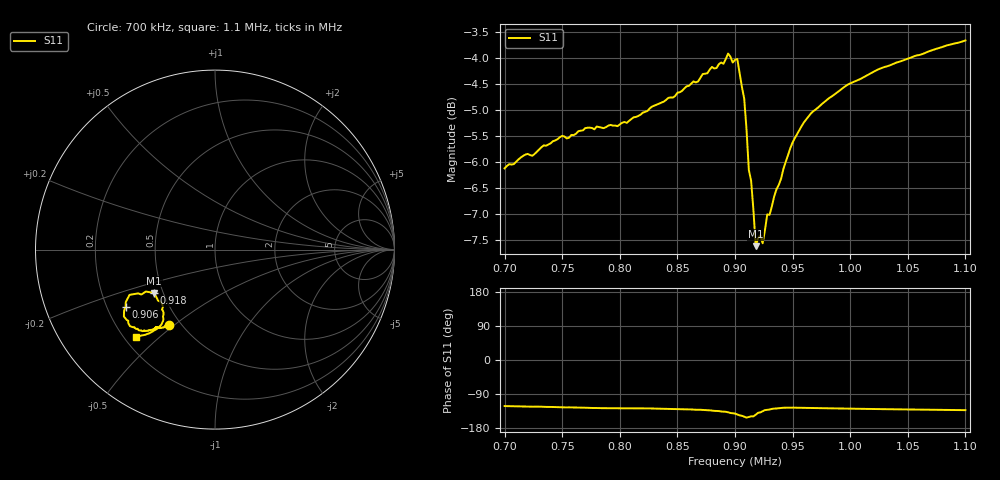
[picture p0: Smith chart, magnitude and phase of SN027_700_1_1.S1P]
!Agilent Technologies,E5071C,MY46100265,A.07.02
!Date: Mon Jan 27 12:30:02 2020
!Data & Calibration Information:
!Freq	S11:SOLT1(OFF)
# Hz S dB R 50
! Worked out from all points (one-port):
!   201 points, 700 kHz to 1.1 MHz, reference 50 ohm
!   lowest |S11| = -7.6 dB at 918 kHz (marker M1), VSWR 2.42, Z = 22.4 - j13.1 ohm
!   |S11| at or under -10 dB: nowhere
!   S11 on the Smith chart (normalised r, x): 700 kHz: 0.43, -0.48; 906 kHz: 0.28, -0.27; 918 kHz: 0.45, -0.26; 1.1 MHz: 0.25, -0.42
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700000  -6.12 -121.6
750000  -5.49 -124.8
800000  -5.28 -127.1
850000  -4.67 -129.3
868000  -4.45 -131.2
886000  -4.11 -134.8
894000  -3.91 -138.0
898000  -4.08 -140.7
900000  -4.03 -141.4
902000  -4.01 -143.7
906000  -4.55 -147.3
908000  -4.78 -149.5
910000  -5.37 -152.1
912000  -6.15 -150.3
914000  -6.36 -148.6
916000  -6.93 -148.8
918000  -7.62 -144.4
920000  -7.47 -139.4
922000  -7.41 -138.3
924000  -7.56 -135.3
926000  -7.31 -132.2
928000  -7.01 -131.5
940000  -6.32 -126.5
950000  -5.62 -125.8
966000  -5.06 -126.7
1000000  -4.48 -128.4
1050000  -4.01 -130.5
1100000  -3.66 -132.3
